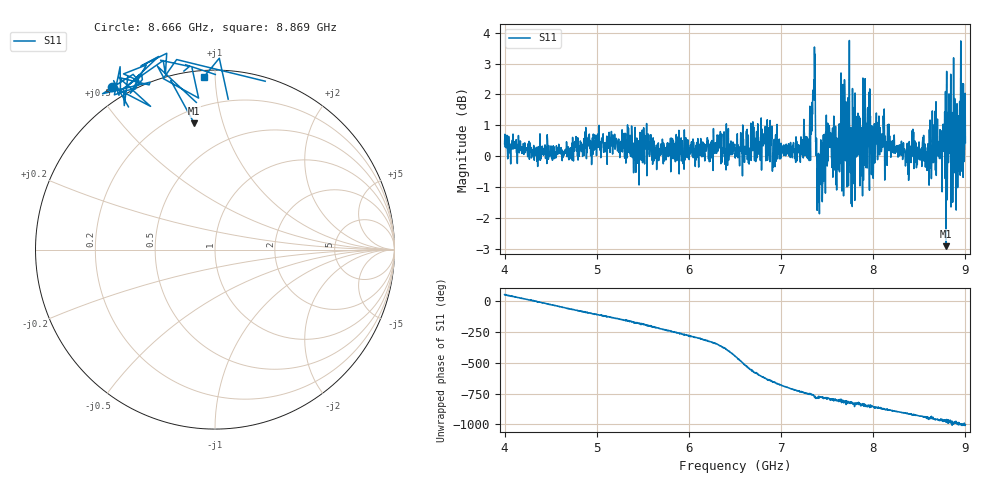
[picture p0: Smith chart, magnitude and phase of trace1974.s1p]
! Created with skrf 1.8.0 (http://scikit-rf.org).
# Hz S RI R 50.0
!freq ReS11 ImS11
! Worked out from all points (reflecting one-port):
!   1601 points, 4 GHz to 9 GHz, reference 50 ohm
!   lowest |S11| = -2.9 dB at 8.791 GHz (marker M1), VSWR 6.00, Z = 14.1 + j40.4 ohm
!   phase of S11 starts at 50 deg and turns -1051 deg over the sweep
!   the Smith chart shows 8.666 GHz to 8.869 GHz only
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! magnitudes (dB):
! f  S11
! 4 GHz  0.4
! 4.625 GHz  -0.2
! 5.25 GHz  0.0
! 5.875 GHz  0.1
! 6.5 GHz  0.0
! 6.806 GHz  0.3
! 7.125 GHz  0.3
! 7.294 GHz  -0.1
! 7.347 GHz  2.0
! 7.369 GHz  3.3
! 7.397 GHz  -1.5
! 7.412 GHz  -1.0
! 7.509 GHz  -0.2
! 7.609 GHz  0.2
! 7.688 GHz  2.5
! 7.75 GHz  0.8
! 7.769 GHz  -1.2
! 7.828 GHz  0.0
! 7.875 GHz  -0.3
! 7.928 GHz  0.9
! 7.997 GHz  0.9
! 8.097 GHz  0.3
! 8.375 GHz  0.0
! 8.431 GHz  0.9
! 8.791 GHz  -2.9
! 8.919 GHz  0.0
! 8.953 GHz  -0.5
! 9 GHz  0.4
